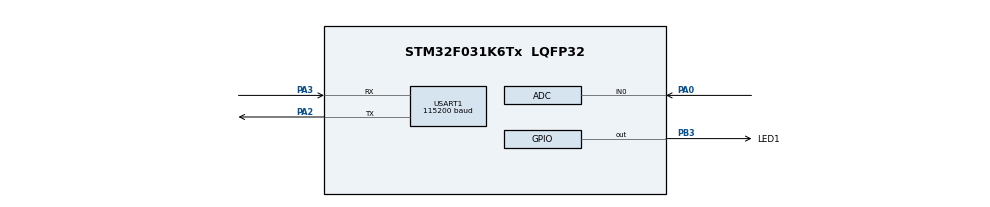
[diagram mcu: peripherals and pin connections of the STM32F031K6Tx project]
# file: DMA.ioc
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ADC.ClockPrescaler=ADC_CLOCK_SYNC_PCLK_DIV2
ADC.ContinuousConvMode=ENABLE
ADC.DMAContinuousRequests=ENABLE
ADC.SamplingTime=ADC_SAMPLETIME_1CYCLE_5
Dma.ADC.1.Direction=DMA_PERIPH_TO_MEMORY
Dma.ADC.1.Instance=DMA1_Channel1
Dma.ADC.1.MemDataAlignment=DMA_MDATAALIGN_HALFWORD
Dma.ADC.1.MemInc=DMA_MINC_ENABLE
Dma.ADC.1.Mode=DMA_CIRCULAR
Dma.ADC.1.PeriphDataAlignment=DMA_PDATAALIGN_HALFWORD
Dma.ADC.1.PeriphInc=DMA_PINC_DISABLE
Dma.ADC.1.Priority=DMA_PRIORITY_VERY_HIGH
Dma.Request0=USART1_TX
Dma.Request1=ADC
Dma.USART1_TX.0.Direction=DMA_MEMORY_TO_PERIPH
Dma.USART1_TX.0.Instance=DMA1_Channel2
Dma.USART1_TX.0.MemDataAlignment=DMA_MDATAALIGN_BYTE
Dma.USART1_TX.0.MemInc=DMA_MINC_ENABLE
Dma.USART1_TX.0.Mode=DMA_NORMAL
Dma.USART1_TX.0.PeriphDataAlignment=DMA_PDATAALIGN_BYTE
Dma.USART1_TX.0.PeriphInc=DMA_PINC_DISABLE
Dma.USART1_TX.0.Priority=DMA_PRIORITY_LOW
Mcu.Family=STM32F0
Mcu.Name=STM32F031K6Tx
Mcu.Package=LQFP32
NVIC.DMA1_Channel1_IRQn=true\:0\:0\:false\:false\:true\:false\:true\:true
NVIC.DMA1_Channel2_3_IRQn=true\:0\:0\:false\:false\:true\:false\:true\:true
PA0.Mode=IN0
PA0.Signal=ADC_IN0
PA2.Mode=Asynchronous
PA2.Signal=USART1_TX
PA3.Mode=Asynchronous
PA3.Signal=USART1_RX
PB3.GPIO_Label=LED1
PB3.Signal=GPIO_Output
ProjectManager.HeapSize=0x200
ProjectManager.StackSize=0x400
ProjectManager.TargetToolchain=STM32CubeIDE
USART1.BaudRate=115200
USART1.VirtualMode-Asynchronous=VM_ASYNC
board=custom

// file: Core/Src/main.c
/* USER CODE BEGIN Header */
/**
  ******************************************************************************
  * @file           : main.c
  * @brief          : Main program body
  ******************************************************************************
  * @attention
  *
  * Copyright (c) 2025 STMicroelectronics.
  * All rights reserved.
  *
  * This software is licensed under terms that can be found in the LICENSE file
  * in the root directory of this software component.
  * If no LICENSE file comes with this software, it is provided AS-IS.
  *
  ******************************************************************************
  */
/* USER CODE END Header */
#include "main.h"

/* USER CODE BEGIN Includes */

#include <string.h>
#include <stdio.h>

/* USER CODE END Includes */

ADC_HandleTypeDef hadc;
DMA_HandleTypeDef hdma_adc;

UART_HandleTypeDef huart1;
DMA_HandleTypeDef hdma_usart1_tx;

void SystemClock_Config(void);
static void MX_GPIO_Init(void);
static void MX_DMA_Init(void);
static void MX_USART1_UART_Init(void);
static void MX_ADC_Init(void);
/* USER CODE BEGIN PFP */

void DMA_Callback(DMA_HandleTypeDef *hdma);

/* USER CODE END PFP */

/* USER CODE BEGIN 0 */

#define ADC_BUF_LEN 512

uint16_t adc_buf[ADC_BUF_LEN];

char msg[100];

/* USER CODE END 0 */

int main(void)
{

  /* MCU Configuration--------------------------------------------------------*/

  /* Reset of all peripherals, Initializes the Flash interface and the Systick. */
  HAL_Init();

  /* Configure the system clock */
  SystemClock_Config();

  /* Initialize all configured peripherals */
  MX_GPIO_Init();
  MX_DMA_Init();
  MX_USART1_UART_Init();
  MX_ADC_Init();
  /* USER CODE BEGIN 2 */

  if (HAL_ADC_Start_DMA(&hadc, (uint32_t*)adc_buf, ADC_BUF_LEN) != HAL_OK)
  {
    sprintf(msg, "Error starting ADC DMA\r\n");
    // Handle error
    Error_Handler();
  }

  HAL_DMA_RegisterCallback(&hdma_usart1_tx, HAL_DMA_XFER_HALFCPLT_CB_ID, DMA_Callback);

  huart1.Instance->CR3 |= USART_CR3_DMAT; // Enables DMA transmit bit
  HAL_DMA_Start_IT(&hdma_usart1_tx, (uint32_t)msg, (uint32_t)&huart1.Instance->TDR, sizeof(msg));

  /* USER CODE END 2 */

  /* Infinite loop */
  while (1)
  {

    /* USER CODE BEGIN 3 */

    // Send over uart
    //char msg[] = "Hello World!\r\n";
    //HAL_UART_Transmit(&huart1, (uint8_t*)msg, sizeof(msg), HAL_MAX_DELAY);

    // toggle LED1
    //HAL_GPIO_TogglePin(LED1_GPIO_Port, LED1_Pin);
    //HAL_Delay(500);
	  HAL_Delay(10);
  }
  /* USER CODE END 3 */
}

void SystemClock_Config(void)
{
  RCC_OscInitTypeDef RCC_OscInitStruct = {0};
  RCC_ClkInitTypeDef RCC_ClkInitStruct = {0};
  RCC_PeriphCLKInitTypeDef PeriphClkInit = {0};

  /** Initializes the RCC Oscillators according to the specified parameters
  * in the RCC_OscInitTypeDef structure.
  */
  RCC_OscInitStruct.OscillatorType = RCC_OSCILLATORTYPE_HSI;
  RCC_OscInitStruct.HSIState = RCC_HSI_ON;
  RCC_OscInitStruct.HSICalibrationValue = RCC_HSICALIBRATION_DEFAULT;
  RCC_OscInitStruct.PLL.PLLState = RCC_PLL_NONE;
  if (HAL_RCC_OscConfig(&RCC_OscInitStruct) != HAL_OK)
  {
    Error_Handler();
  }

  /** Initializes the CPU, AHB and APB buses clocks
  */
  RCC_ClkInitStruct.ClockType = RCC_CLOCKTYPE_HCLK|RCC_CLOCKTYPE_SYSCLK
                              |RCC_CLOCKTYPE_PCLK1;
  RCC_ClkInitStruct.SYSCLKSource = RCC_SYSCLKSOURCE_HSI;
  RCC_ClkInitStruct.AHBCLKDivider = RCC_SYSCLK_DIV1;
  RCC_ClkInitStruct.APB1CLKDivider = RCC_HCLK_DIV1;

  if (HAL_RCC_ClockConfig(&RCC_ClkInitStruct, FLASH_LATENCY_0) != HAL_OK)
  {
    Error_Handler();
  }
  PeriphClkInit.PeriphClockSelection = RCC_PERIPHCLK_USART1;
  PeriphClkInit.Usart1ClockSelection = RCC_USART1CLKSOURCE_PCLK1;
  if (HAL_RCCEx_PeriphCLKConfig(&PeriphClkInit) != HAL_OK)
  {
    Error_Handler();
  }
}

static void MX_ADC_Init(void)
{

  ADC_ChannelConfTypeDef sConfig = {0};

  /** Configure the global features of the ADC (Clock, Resolution, Data Alignment and number of conversion)
  */
  hadc.Instance = ADC1;
  hadc.Init.ClockPrescaler = ADC_CLOCK_SYNC_PCLK_DIV4;
  hadc.Init.Resolution = ADC_RESOLUTION_12B;
  hadc.Init.DataAlign = ADC_DATAALIGN_RIGHT;
  hadc.Init.ScanConvMode = ADC_SCAN_DIRECTION_FORWARD;
  hadc.Init.EOCSelection = ADC_EOC_SINGLE_CONV;
  hadc.Init.LowPowerAutoWait = DISABLE;
  hadc.Init.LowPowerAutoPowerOff = DISABLE;
  hadc.Init.ContinuousConvMode = ENABLE;
  hadc.Init.DiscontinuousConvMode = DISABLE;
  hadc.Init.ExternalTrigConv = ADC_SOFTWARE_START;
  hadc.Init.ExternalTrigConvEdge = ADC_EXTERNALTRIGCONVEDGE_NONE;
  hadc.Init.DMAContinuousRequests = ENABLE;
  hadc.Init.Overrun = ADC_OVR_DATA_PRESERVED;
  if (HAL_ADC_Init(&hadc) != HAL_OK)
  {
    Error_Handler();
  }

  /** Configure for the selected ADC regular channel to be converted.
  */
  sConfig.Channel = ADC_CHANNEL_0;
  sConfig.Rank = ADC_RANK_CHANNEL_NUMBER;
  sConfig.SamplingTime = ADC_SAMPLETIME_1CYCLE_5;
  if (HAL_ADC_ConfigChannel(&hadc, &sConfig) != HAL_OK)
  {
    Error_Handler();
  }

}

static void MX_USART1_UART_Init(void)
{

  huart1.Instance = USART1;
  huart1.Init.BaudRate = 115200;
  huart1.Init.WordLength = UART_WORDLENGTH_8B;
  huart1.Init.StopBits = UART_STOPBITS_1;
  huart1.Init.Parity = UART_PARITY_NONE;
  huart1.Init.Mode = UART_MODE_TX_RX;
  huart1.Init.HwFlowCtl = UART_HWCONTROL_NONE;
  huart1.Init.OverSampling = UART_OVERSAMPLING_16;
  huart1.Init.OneBitSampling = UART_ONE_BIT_SAMPLE_DISABLE;
  huart1.AdvancedInit.AdvFeatureInit = UART_ADVFEATURE_NO_INIT;
  if (HAL_UART_Init(&huart1) != HAL_OK)
  {
    Error_Handler();
  }

}

static void MX_DMA_Init(void)
{

  /* DMA controller clock enable */
  __HAL_RCC_DMA1_CLK_ENABLE();

  /* DMA interrupt init */
  /* DMA1_Channel1_IRQn interrupt configuration */
  HAL_NVIC_SetPriority(DMA1_Channel1_IRQn, 0, 0);
  HAL_NVIC_EnableIRQ(DMA1_Channel1_IRQn);
  /* DMA1_Channel2_3_IRQn interrupt configuration */
  HAL_NVIC_SetPriority(DMA1_Channel2_3_IRQn, 0, 0);
  HAL_NVIC_EnableIRQ(DMA1_Channel2_3_IRQn);

}

static void MX_GPIO_Init(void)
{
  GPIO_InitTypeDef GPIO_InitStruct = {0};

  /* GPIO Ports Clock Enable */
  __HAL_RCC_GPIOA_CLK_ENABLE();
  __HAL_RCC_GPIOB_CLK_ENABLE();

  /*Configure GPIO pin Output Level */
  HAL_GPIO_WritePin(LED1_GPIO_Port, LED1_Pin, GPIO_PIN_RESET);

  /*Configure GPIO pin : LED1_Pin */
  GPIO_InitStruct.Pin = LED1_Pin;
  GPIO_InitStruct.Mode = GPIO_MODE_OUTPUT_PP;
  GPIO_InitStruct.Pull = GPIO_NOPULL;
  GPIO_InitStruct.Speed = GPIO_SPEED_FREQ_LOW;
  HAL_GPIO_Init(LED1_GPIO_Port, &GPIO_InitStruct);

}

/* USER CODE BEGIN 4 */

void DMA_Callback(DMA_HandleTypeDef *hdma) {

  //huart1.Instance->CR3 &= ~USART_CR3_DMAT; // Disables DMA transmit bit

  //HAL_GPIO_TogglePin(LED1_GPIO_Port, LED1_Pin);
}

void HAL_ADC_ConvCpltCallback(ADC_HandleTypeDef* hadc) {
  HAL_GPIO_WritePin(LED1_GPIO_Port, LED1_Pin, GPIO_PIN_SET);
  memset(msg, 0, sizeof(msg));
  sprintf(msg, "Comp %d, %d, %ld\r\n", adc_buf[0], adc_buf[256], HAL_GetTick());
  HAL_DMA_Start_IT(&hdma_usart1_tx, (uint32_t)msg, (uint32_t)&huart1.Instance->TDR, sizeof(msg));
}

void HAL_ADC_ConvHalfCpltCallback(ADC_HandleTypeDef* hadc) {
  HAL_GPIO_WritePin(LED1_GPIO_Port, LED1_Pin, GPIO_PIN_RESET);
  memset(msg, 0, sizeof(msg));
  //sprintf(msg, "Half %d, %d, %ld\r\n", adc_buf[0], adc_buf[256], HAL_GetTick());
  //HAL_DMA_Start_IT(&hdma_usart1_tx, (uint32_t)msg, (uint32_t)&huart1.Instance->TDR, sizeof(msg));
}

/* USER CODE END 4 */

void Error_Handler(void)
{
  __disable_irq();
  while (1)
  {
  }
}
